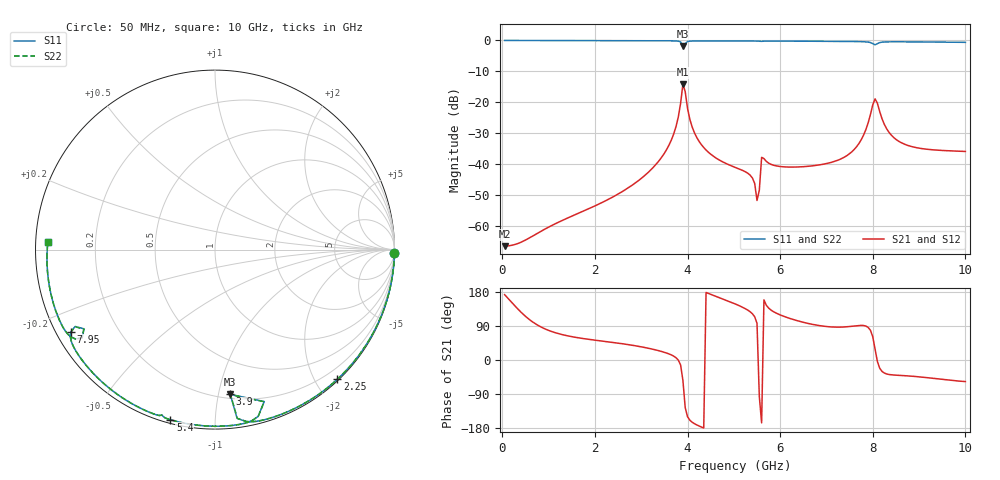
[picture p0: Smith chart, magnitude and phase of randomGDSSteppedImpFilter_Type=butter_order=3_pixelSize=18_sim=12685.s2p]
! freq	dB(S11)	phase(S11)	dB(S12)	phase(S12)
!  dB(S21)	phase(S21)	dB(S22)	phase(S22)
!S-par simulation data
#  GHz  S  DB  R 50
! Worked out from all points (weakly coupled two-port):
!   200 points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, 50 MHz to 10 GHz, reference 50 ohm
!   highest |S21| = -14.14 dB at 3.9 GHz (marker M1); lowest = -66.4 dB at 50 MHz (marker M2)
!   lowest |S11| = -1.8 dB at 3.9 GHz (marker M3), VSWR 9.57, Z = 11.5 - j54.2 ohm
!   |S11| at or under -10 dB: nowhere
!   |S22| runs from -1.8 to 0.0 dB; largest |S21 - S12| = 0
!   S11 on the Smith chart (normalised r, x): 50 MHz: open; 2.25 GHz: 0.02, -2.32; 3.9 GHz: 0.23, -1.08; 5.4 GHz: 0.02, -0.77; 7.95 GHz: 0.04, -0.26; 10 GHz: 0.03, +0.02
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0.05  -0.00 -1.1  -66.38 172.4  -66.38 172.4  -0.00 -1.1
1.75  -0.05 -36.5  -55.08 56.5  -55.08 56.5  -0.05 -36.5
2.25  -0.06 -46.6  -51.58 48.5  -51.58 48.5  -0.06 -46.6
3.4  -0.10 -69.5  -38.52 23.8  -38.52 23.8  -0.10 -69.5
3.75  -0.16 -77.7  -27.87 6.1  -27.87 6.1  -0.16 -77.7
3.9  -1.82 -84.0  -14.14 -53.5  -14.14 -53.5  -1.80 -83.9
3.95  -1.01 -72.0  -16.53 -125.9  -16.53 -125.9  -1.00 -72.1
4.05  -0.22 -77.8  -25.45 -158.8  -25.45 -158.8  -0.22 -77.8
4.25  -0.14 -83.2  -32.58 -174.3  -32.58 -174.3  -0.14 -83.2
5.05  -0.15 -98.4  -41.08 146.9  -41.08 146.9  -0.15 -98.3
5.4  -0.17 -104.7  -44.36 122.1  -44.36 122.1  -0.17 -104.6
5.5  -0.20 -106.6  -51.64 96.9  -51.64 96.9  -0.20 -106.5
5.55  -0.25 -107.5  -48.34 -96.5  -48.34 -96.5  -0.25 -107.5
5.6  -0.29 -107.7  -37.71 -165.8  -37.71 -165.8  -0.29 -107.7
6.7  -0.25 -126.7  -40.46 94.0  -40.46 94.0  -0.25 -126.7
7.55  -0.34 -141.4  -35.90 89.1  -35.90 89.1  -0.33 -141.4
7.8  -0.41 -146.4  -30.58 91.0  -30.58 91.0  -0.41 -146.3
7.95  -0.68 -150.3  -23.88 78.3  -23.88 78.3  -0.67 -150.2
8.05  -1.38 -148.8  -18.84 28.7  -18.84 28.7  -1.37 -148.8
8.35  -0.44 -152.4  -29.63 -38.2  -29.63 -38.2  -0.44 -152.4
8.85  -0.46 -161.8  -34.28 -42.8  -34.28 -42.8  -0.45 -161.7
10  -0.61 177.5  -35.82 -56.9  -35.82 -56.9  -0.61 177.6
